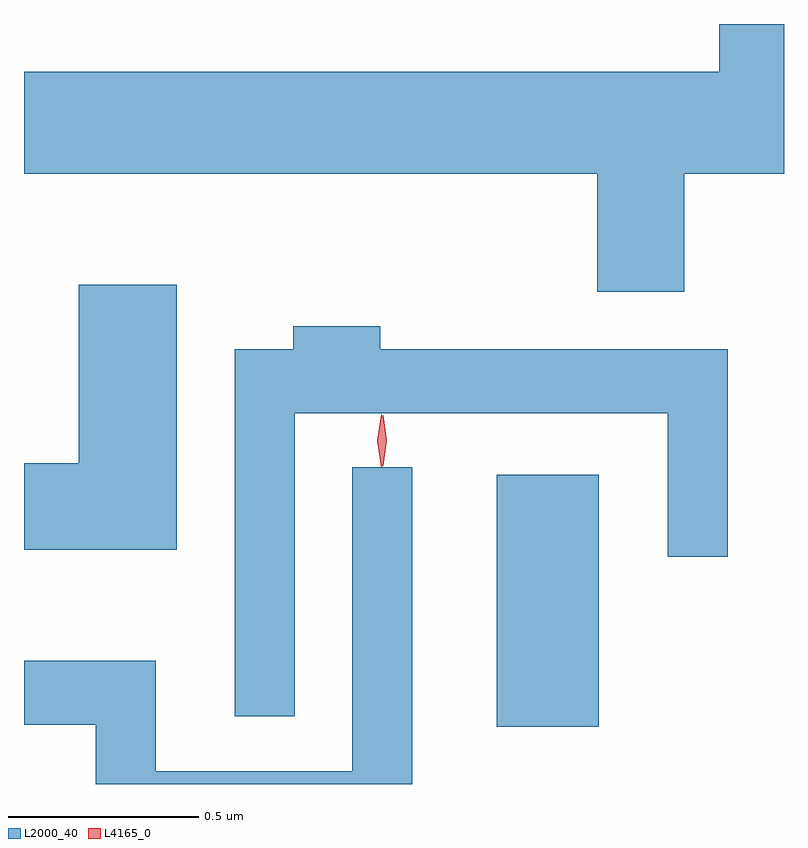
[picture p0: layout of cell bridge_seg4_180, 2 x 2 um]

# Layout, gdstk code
import gdstk
lib = gdstk.Library(unit=1e-6, precision=1e-09)
def R(c, l, rs):  # rectangles x0, y0, x1, y1
    for r in rs: c.add(gdstk.rectangle(r[:2], r[2:], *l))
def P(c, l, *ps):  # polygons
    for p in ps: c.add(gdstk.Polygon(p, *l))
L2000_40 = (2000, 40)
L4165_0 = (4165, 0)

bridge_seg4_180 = lib.new_cell('bridge_seg4_180')
R(bridge_seg4_180, L2000_40, [(950.816,1319.921,951.084,1320.584)])
P(bridge_seg4_180, L2000_40, [(951.309,1321.376),(951.572,1321.376),(951.572,1321.77),(951.401,1321.77),(951.401,1321.644),(949.572,1321.644),(949.572,1321.376),(951.081,1321.376),(951.081,1321.066),(951.309,1321.066)],
  [(949.974,1321.084),(949.716,1321.084),(949.716,1320.614),(949.572,1320.614),(949.572,1320.386),(949.974,1320.386)],
  [(950.284,1320.746),(951.266,1320.746),(951.266,1320.368),(951.424,1320.368),(951.424,1320.914),(950.509,1320.914),(950.509,1320.974),(950.281,1320.974),(950.281,1320.914),(950.126,1320.914),(950.126,1319.948),(950.284,1319.948)],
  [(950.594,1320.603),(950.436,1320.603),(950.436,1319.804),(949.919,1319.804),(949.919,1320.094),(949.572,1320.094),(949.572,1319.926),(949.761,1319.926),(949.761,1319.77),(950.594,1319.77)])
P(bridge_seg4_180, L4165_0, [(950.512,1320.604),(950.502,1320.673),(950.512,1320.742),(950.512,1320.743),(950.513,1320.742),(950.522,1320.673),(950.513,1320.604),(950.513,1320.604)],
  [(950.516,1320.607),(950.516,1320.608),(950.506,1320.674),(950.516,1320.74),(950.516,1320.741),(950.517,1320.74),(950.526,1320.674),(950.517,1320.608)])

lib.write_gds('bridge_seg4_180.gds')
